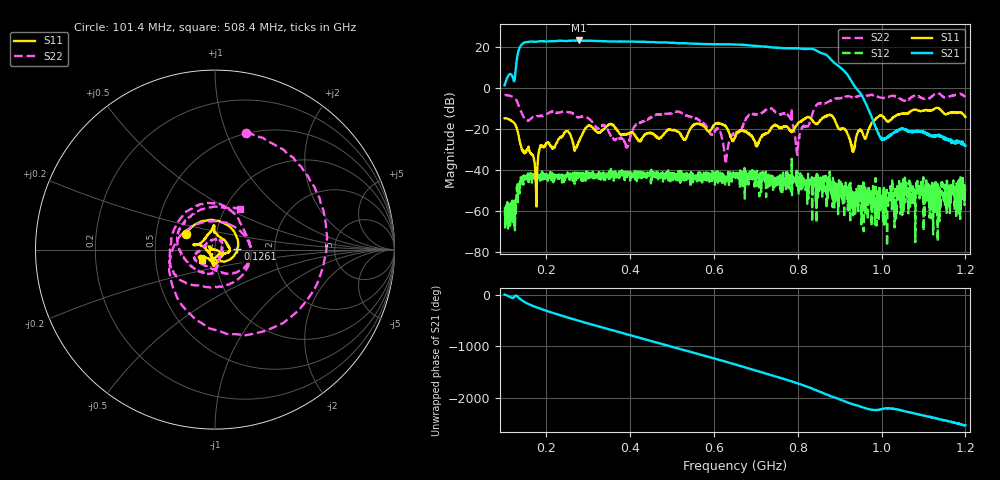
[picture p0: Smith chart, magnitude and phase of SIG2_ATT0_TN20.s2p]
# Hz S DB R 50
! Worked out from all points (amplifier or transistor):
!   1601 points, 100 MHz to 1.2 GHz, reference 50 ohm
!   highest |S21| = 23.2 dB at 276.7 MHz (marker M1)
!   |S21| within 3 dB of that: 137.3 MHz to 720.1 MHz (582.8 MHz wide, 136 % of centre) (the widest 1 of 2)
!   unconditionally stable (mu >= 1): start of sweep to end of sweep
!   at 282.9 MHz: K = 4.22, MAG = 23.4 dB, |S12| = -42.0 dB
!   at 650 MHz: K = 5.83, MAG = 21.3 dB, |S12| = -42.6 dB
!   at 1.2 GHz: K = 2384.95, MAG = -25.9 dB, |S12| = -49.9 dB
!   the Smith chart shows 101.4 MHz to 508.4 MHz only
!   S11 on the Smith chart (normalised r, x): 101.4 MHz: 0.71, +0.13; 126.1 MHz: 1.28, +0.01; 508.4 MHz: 0.86, -0.10
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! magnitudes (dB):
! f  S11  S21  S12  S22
! 100 MHz  -14.7  1.4  -58.1  -3.5
! 101.4 MHz  -14.8  2.3  -68.9  -3.4
! 126.1 MHz  -18.1  8.3  -54.7  -5.3
! 141.9 MHz  -30.1  21.5  -46.6  -12.6
! 174.2 MHz  -45.9  22.6  -45.0  -13.8
! 188.7 MHz  -28.0  22.9  -43.6  -13.5
! 276.7 MHz  -26.1  23.2  -41.7  -14.3
! 283.6 MHz  -23.3  23.2  -45.3  -14.0
! 391.5 MHz  -22.4  22.7  -41.6  -28.0
! 467.1 MHz  -24.5  22.3  -42.5  -12.8
! 508.4 MHz  -20.8  22.0  -42.1  -11.5
! 610.1 MHz  -17.0  21.4  -41.6  -19.9
! 628 MHz  -18.6  21.3  -43.2  -34.6
! 650 MHz  -24.3  21.2  -42.6  -21.9
! 734.6 MHz  -20.0  19.9  -42.2  -9.9
! 779.9 MHz  -20.5  19.4  -48.4  -14.0
! 798.5 MHz  -17.7  19.4  -40.7  -32.7
! 833.6 MHz  -15.5  19.2  -43.4  -13.1
! 880.3 MHz  -13.4  13.7  -49.4  -6.0
! 931.9 MHz  -31.2  2.0  -62.0  -4.5
! 1.017 GHz  -16.0  -23.8  -54.2  -4.2
! 1.2 GHz  -14.1  -28.2  -49.9  -4.2
